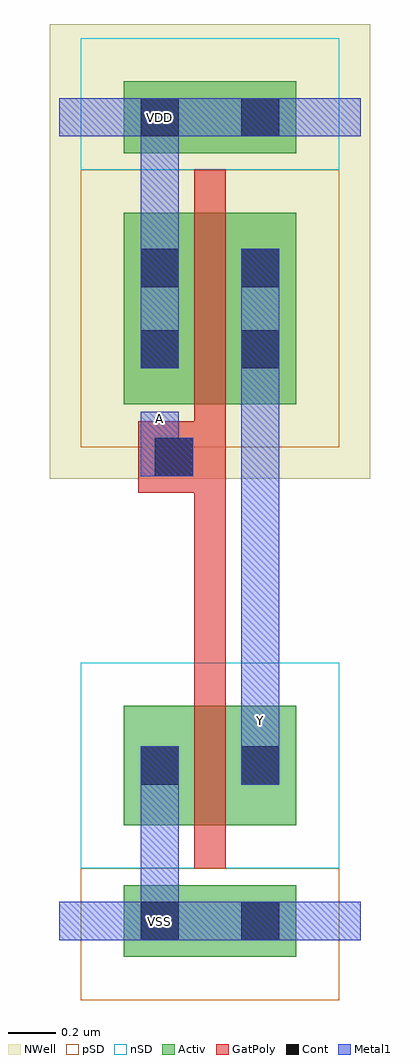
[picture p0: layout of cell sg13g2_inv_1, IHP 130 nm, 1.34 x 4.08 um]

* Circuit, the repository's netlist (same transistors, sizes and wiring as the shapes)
* sg13g2_inv_1 -- generated by design/gen_netlists.py from example_config.json; do not edit.
* family inv, drive 1, L=130n, supply 1.20 V.
* Y = !A
.subckt sg13g2_inv_1 A Y VDD VSS
XMN0 Y A VSS VSS sg13_lv_nmos w=500n l=130n ng=1 m=1
XMP0 Y A VDD VDD sg13_lv_pmos w=800n l=130n ng=1 m=1
.ends sg13g2_inv_1

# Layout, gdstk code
import gdstk
lib = gdstk.Library(unit=1e-6, precision=1e-09)
def R(c, l, rs):  # rectangles x0, y0, x1, y1
    for r in rs: c.add(gdstk.rectangle(r[:2], r[2:], *l))
Activ = (1, 0)
GatPoly = (5, 0)
Cont = (6, 0)
nSD = (7, 0)
Metal1 = (8, 0)
pSD = (14, 0)
NWell = (31, 0)

sg13g2_inv_1 = lib.new_cell('sg13g2_inv_1')
R(sg13g2_inv_1, Activ, [(0.27,-0.15,0.99,0.15), (0.27,0.4,0.99,0.9), (0.27,2.16,0.99,2.96), (0.27,3.21,0.99,3.51)])
R(sg13g2_inv_1, GatPoly, [(0.565,0.22,0.695,3.14), (0.33,1.79,0.695,2.09)])
R(sg13g2_inv_1, Cont, [(0.34,-0.08,0.5,0.08), (0.76,-0.08,0.92,0.08), (0.34,0.57,0.5,0.73), (0.76,0.57,0.92,0.73), (0.4,1.86,0.56,2.02), (0.34,2.31,0.5,2.47), (0.76,2.31,0.92,2.47), (0.34,2.65,0.5,2.81), (0.76,2.65,0.92,2.81), (0.34,3.28,0.5,3.44), (0.76,3.28,0.92,3.44)])
R(sg13g2_inv_1, nSD, [(0.09,0.22,1.17,1.08), (0.09,3.14,1.17,3.69)])
R(sg13g2_inv_1, Metal1, [(0,-0.08,1.26,0.08), (0.34,-0.08,0.5,0.73), (0.34,-0.08,0.92,0.08), (0.76,0.57,0.92,1.17), (0.76,1.01,0.92,1.17), (0.76,1.01,0.92,2.81), (0.34,1.86,0.5,2.13), (0.34,1.86,0.56,2.02), (0.34,2.31,0.5,3.44), (0,3.28,1.26,3.44), (0.34,3.28,0.92,3.44)])
R(sg13g2_inv_1, pSD, [(0.09,-0.33,1.17,0.22), (0.09,1.98,1.17,3.14)])
R(sg13g2_inv_1, NWell, [(-0.04,1.85,1.3,3.75)])
sg13g2_inv_1.add(gdstk.Label('VSS', (0.42,0), layer=8, texttype=25))
sg13g2_inv_1.add(gdstk.Label('A', (0.42,2.1), layer=8, texttype=25))
sg13g2_inv_1.add(gdstk.Label('VDD', (0.42,3.36), layer=8, texttype=25))
sg13g2_inv_1.add(gdstk.Label('Y', (0.84,0.84), layer=8, texttype=25))

lib.write_gds('sg13g2_inv_1.gds')
